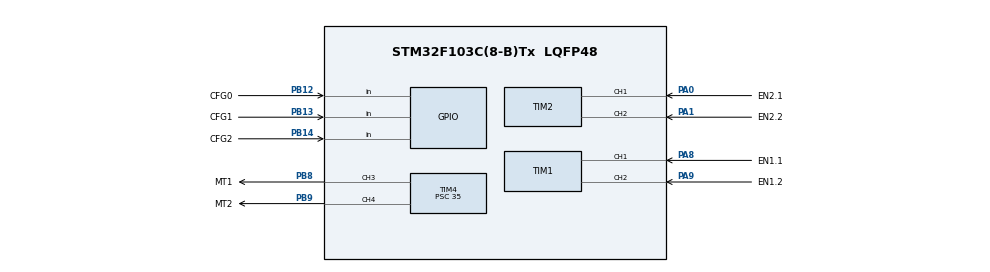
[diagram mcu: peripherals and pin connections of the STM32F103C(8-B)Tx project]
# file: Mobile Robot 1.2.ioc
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Mcu.Family=STM32F1
Mcu.Name=STM32F103C(8-B)Tx
Mcu.Package=LQFP48
NVIC.PriorityGroup=NVIC_PRIORITYGROUP_4
PA0-WKUP.GPIO_Label=EN2.1
PA0-WKUP.GPIO_PuPd=GPIO_PULLUP
PA0-WKUP.Signal=S_TIM2_CH1_ETR
PA1.GPIO_Label=EN2.2
PA1.GPIO_PuPd=GPIO_PULLUP
PA1.Signal=S_TIM2_CH2
PA13.Mode=Serial_Wire
PA13.Signal=SYS_JTMS-SWDIO
PA14.Mode=Serial_Wire
PA14.Signal=SYS_JTCK-SWCLK
PA8.GPIO_Label=EN1.1
PA8.GPIO_PuPd=GPIO_PULLUP
PA8.Signal=S_TIM1_CH1
PA9.GPIO_Label=EN1.2
PA9.GPIO_PuPd=GPIO_PULLUP
PA9.Signal=S_TIM1_CH2
PB12.GPIO_Label=CFG0
PB12.Signal=GPIO_Input
PB13.GPIO_Label=CFG1
PB13.Signal=GPIO_Input
PB14.GPIO_Label=CFG2
PB14.Signal=GPIO_Input
PB8.GPIO_Label=MT1
PB8.GPIO_Speed=GPIO_SPEED_FREQ_MEDIUM
PB8.Signal=S_TIM4_CH3
PB9.GPIO_Label=MT2
PB9.GPIO_Speed=GPIO_SPEED_FREQ_MEDIUM
PB9.Signal=S_TIM4_CH4
PD0-OSC_IN.Mode=HSE-External-Oscillator
PD0-OSC_IN.Signal=RCC_OSC_IN
PD1-OSC_OUT.Mode=HSE-External-Oscillator
PD1-OSC_OUT.Signal=RCC_OSC_OUT
ProjectManager.HeapSize=0x200
ProjectManager.StackSize=0x400
ProjectManager.TargetToolchain=STM32CubeIDE
RCC.APB1Freq_Value=8000000
RCC.APB2Freq_Value=8000000
SH.S_TIM1_CH1.0=TIM1_CH1,Encoder_Interface
SH.S_TIM1_CH2.0=TIM1_CH2,Encoder_Interface
SH.S_TIM2_CH1_ETR.0=TIM2_CH1,Encoder_Interface
SH.S_TIM2_CH2.0=TIM2_CH2,Encoder_Interface
SH.S_TIM4_CH3.0=TIM4_CH3,PWM Generation3 CH3
SH.S_TIM4_CH4.0=TIM4_CH4,PWM Generation4 CH4
TIM1.EncoderMode=TIM_ENCODERMODE_TI12
TIM2.EncoderMode=TIM_ENCODERMODE_TI12
TIM4.Channel-PWM\ Generation3\ CH3=TIM_CHANNEL_3
TIM4.Channel-PWM\ Generation4\ CH4=TIM_CHANNEL_4
TIM4.Period=999
TIM4.Prescaler=35
board=custom

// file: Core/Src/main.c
/* USER CODE BEGIN Header */
/**
  ******************************************************************************
  * @file           : main.c
  * @brief          : Main program body
  ******************************************************************************
  * @attention
  *
  * Copyright (c) 2023 STMicroelectronics.
  * All rights reserved.
  *
  * This software is licensed under terms that can be found in the LICENSE file
  * in the root directory of this software component.
  * If no LICENSE file comes with this software, it is provided AS-IS.
  *
  ******************************************************************************
  */
/* USER CODE END Header */
#include "main.h"

/* USER CODE BEGIN Includes */
#include "matrices_op2.h"
#include <main_operation2.h>
#include <stdio.h>
#include <stdlib.h>
#include <string.h>
/* USER CODE END Includes */

TIM_HandleTypeDef htim1;
TIM_HandleTypeDef htim2;
TIM_HandleTypeDef htim4;

void SystemClock_Config(void);
static void MX_GPIO_Init(void);
static void MX_TIM1_Init(void);
static void MX_TIM2_Init(void);
static void MX_TIM4_Init(void);

/* USER CODE BEGIN 0 */

	double x = 0;
	double y = 0;
	double theta = 0;

	double left_angular_velocity = 0;
	double right_angular_velocity = 0;

	double x_r = 0;
	double y_r = 0;
	double theta_r = 0;

	double e_x;
	double e_y;
	double e_theta;

	double voltage_left = 0;
	double voltage_right = 0;

	volatile double encoder_cnt1 = 0;
	volatile double encoder_cnt2 = 0;

	volatile double encoder1_previous = 0;
	volatile double encoder2_previous = 0;

//	double present_time = 0;
//	double sample_time = 100;
//	double rate = 10 * 6.28; // = 1000/sample_time
//	double rate = 100;

	uint16_t duty_cycle1 = 0; // for motor left
	uint16_t duty_cycle2 = 0; // for motor right duty + 140 = duty 1 (v1 = v2)

	double sampling_interval = 10e-6 ;

	//Vehicle parameters
    double I = 0.0315;
	double r = 0.0325;
	double R = 0.091;
	double d = 0.037;
	double m = 0.927;

	double present_time = 0;

	//Motor parameters
	double k_phi = 9.76e-3;
	double R_a = 4.35;

	void pulse_modulation(uint16_t *duty_cycle1, uint16_t *duty_cycle2) {
		__HAL_TIM_SET_COMPARE(&htim4, TIM_CHANNEL_3, *duty_cycle1); // left
		__HAL_TIM_SET_COMPARE(&htim4, TIM_CHANNEL_4, *duty_cycle2); // right
	}

	void convert_v_to_pwm(uint16_t *duty_cycle1, uint16_t *duty_cycle2, double voltage_left, double voltage_right) {
		*duty_cycle1 = (int)((voltage_left / 12) * 1000);
		*duty_cycle2 = (int)((voltage_right / 12) * 1000);
	}

/* USER CODE END 0 */

int main(void)
{

  /* MCU Configuration--------------------------------------------------------*/

  /* Reset of all peripherals, Initializes the Flash interface and the Systick. */
  HAL_Init();

  /* USER CODE BEGIN Init */
  //Controller parameters
      matrix K;
      allocate_matrix(&K, 3 ,1);
      K.index[0][0] = 1;
      K.index[1][0] = 1;
      K.index[2][0] = 1;

      matrix K_4;
      allocate_matrix(&K_4, 2, 2);
      K_4.index[0][0] = 1;
      K_4.index[1][1] = 1;

      matrix v;
      allocate_matrix(&v, 2, 1);

      matrix v_r;
      allocate_matrix(&v_r, 2, 1);
      v_r.index[0][0] = 0.5;
      v_r.index[1][0] = 0.5;

      matrix v_c;
      allocate_matrix(&v_c, 2, 1);

      matrix v_c_pre;
      allocate_matrix(&v_c_pre, 2, 1);

      matrix u;
      allocate_matrix(&u, 2, 1);

      matrix torque;
      allocate_matrix(&torque, 2, 1);

      velocity_control_input(&v_c, &v_c_pre, v_r, K, e_x, e_y, e_theta);
  /* USER CODE END Init */

  /* Configure the system clock */
  SystemClock_Config();

  /* Initialize all configured peripherals */
  MX_GPIO_Init();
  MX_TIM1_Init();
  MX_TIM2_Init();
  MX_TIM4_Init();
  /* USER CODE BEGIN 2 */

  // Motor left
  HAL_TIM_PWM_Start(&htim4, TIM_CHANNEL_3);
  HAL_TIM_Encoder_Start(&htim1, TIM_CHANNEL_2 | TIM_CHANNEL_1);
  // Motor right
  HAL_TIM_PWM_Start(&htim4, TIM_CHANNEL_4);
  HAL_TIM_Encoder_Start(&htim2, TIM_CHANNEL_1 | TIM_CHANNEL_2);

  /* USER CODE END 2 */

  /* Infinite loop */
  /* USER CODE BEGIN WHILE */
  	  present_time = HAL_GetTick();
  while (1)
  {

	  	  	  encoder_cnt1 = __HAL_TIM_GET_COUNTER(&htim1);
	 	  	  double a = encoder_cnt1;
	 	  	  encoder_cnt2 = __HAL_TIM_GET_COUNTER(&htim2);
	 	  	  double b = encoder_cnt2;
	 	  	  if(HAL_GetTick() - present_time > sampling_interval) {
	 	  	 		  	if(a - encoder1_previous < 0) {
	 	  	 		  		left_angular_velocity = ((a - encoder1_previous + 65535) / 660) * 6.18 / sampling_interval;
	 	  	 		  	}
	 	  	 		  	else {
	 	  	 		  		left_angular_velocity = ((a - encoder1_previous) / 660) * 6.18 / sampling_interval;
	 	  	 		  	}

	 	  	 		  	if(b - encoder2_previous < 0) {
	 	  	 		  		right_angular_velocity = ((b - encoder2_previous + 65535) / 660) * 6.18 / sampling_interval;
	 	  	 		  	}
	 	  	 		  	else {
	 	  	 		  		right_angular_velocity = ((b - encoder2_previous) / 660) * 6.18 / sampling_interval;
	 	  	 		  	}
	 	  		  	encoder1_previous = a;
	 	  		  	encoder2_previous = b;

	 			//desired_trajectory(&v_r, x_r, y_r);
	 	  		velocity(&v, left_angular_velocity, right_angular_velocity);
	 	  		errors(&e_x, &e_y, &e_theta, x, y, theta, x_r, y_r, theta_r);
	 	  		velocity_control_input(&v_c, &v_c_pre, v_r, K, e_x, e_y, e_theta);
	 	  		control_input_signal(&u, v_c, v_c_pre, v, K_4);
	 	  		cal_torque(&torque, v, u);
	 	  		voltage(&voltage_left, &voltage_right, left_angular_velocity, right_angular_velocity, &torque);
	 	  		next_state(&x, &y, &theta, &x_r, &y_r, &theta_r, v, v_r);
	 	  		convert_v_to_pwm(&duty_cycle1, &duty_cycle2, voltage_left, voltage_right);
	 	  		pulse_modulation(&duty_cycle1, &duty_cycle2);
//
//	  		pulse_modulation_test();
	  		present_time = HAL_GetTick();
	  	}

    /* USER CODE END WHILE */

  }
}

void SystemClock_Config(void)
{
  RCC_OscInitTypeDef RCC_OscInitStruct = {0};
  RCC_ClkInitTypeDef RCC_ClkInitStruct = {0};

  /** Initializes the RCC Oscillators according to the specified parameters
  * in the RCC_OscInitTypeDef structure.
  */
  RCC_OscInitStruct.OscillatorType = RCC_OSCILLATORTYPE_HSI;
  RCC_OscInitStruct.HSIState = RCC_HSI_ON;
  RCC_OscInitStruct.HSICalibrationValue = RCC_HSICALIBRATION_DEFAULT;
  RCC_OscInitStruct.PLL.PLLState = RCC_PLL_NONE;
  if (HAL_RCC_OscConfig(&RCC_OscInitStruct) != HAL_OK)
  {
    Error_Handler();
  }

  /** Initializes the CPU, AHB and APB buses clocks
  */
  RCC_ClkInitStruct.ClockType = RCC_CLOCKTYPE_HCLK|RCC_CLOCKTYPE_SYSCLK
                              |RCC_CLOCKTYPE_PCLK1|RCC_CLOCKTYPE_PCLK2;
  RCC_ClkInitStruct.SYSCLKSource = RCC_SYSCLKSOURCE_HSI;
  RCC_ClkInitStruct.AHBCLKDivider = RCC_SYSCLK_DIV1;
  RCC_ClkInitStruct.APB1CLKDivider = RCC_HCLK_DIV1;
  RCC_ClkInitStruct.APB2CLKDivider = RCC_HCLK_DIV1;

  if (HAL_RCC_ClockConfig(&RCC_ClkInitStruct, FLASH_LATENCY_0) != HAL_OK)
  {
    Error_Handler();
  }
}

static void MX_TIM1_Init(void)
{

  TIM_Encoder_InitTypeDef sConfig = {0};
  TIM_MasterConfigTypeDef sMasterConfig = {0};

  htim1.Instance = TIM1;
  htim1.Init.Prescaler = 0;
  htim1.Init.CounterMode = TIM_COUNTERMODE_UP;
  htim1.Init.Period = 65535;
  htim1.Init.ClockDivision = TIM_CLOCKDIVISION_DIV1;
  htim1.Init.RepetitionCounter = 0;
  htim1.Init.AutoReloadPreload = TIM_AUTORELOAD_PRELOAD_DISABLE;
  sConfig.EncoderMode = TIM_ENCODERMODE_TI12;
  sConfig.IC1Polarity = TIM_ICPOLARITY_RISING;
  sConfig.IC1Selection = TIM_ICSELECTION_DIRECTTI;
  sConfig.IC1Prescaler = TIM_ICPSC_DIV1;
  sConfig.IC1Filter = 0;
  sConfig.IC2Polarity = TIM_ICPOLARITY_RISING;
  sConfig.IC2Selection = TIM_ICSELECTION_DIRECTTI;
  sConfig.IC2Prescaler = TIM_ICPSC_DIV1;
  sConfig.IC2Filter = 0;
  if (HAL_TIM_Encoder_Init(&htim1, &sConfig) != HAL_OK)
  {
    Error_Handler();
  }
  sMasterConfig.MasterOutputTrigger = TIM_TRGO_RESET;
  sMasterConfig.MasterSlaveMode = TIM_MASTERSLAVEMODE_DISABLE;
  if (HAL_TIMEx_MasterConfigSynchronization(&htim1, &sMasterConfig) != HAL_OK)
  {
    Error_Handler();
  }

}

static void MX_TIM2_Init(void)
{

  TIM_Encoder_InitTypeDef sConfig = {0};
  TIM_MasterConfigTypeDef sMasterConfig = {0};

  htim2.Instance = TIM2;
  htim2.Init.Prescaler = 0;
  htim2.Init.CounterMode = TIM_COUNTERMODE_UP;
  htim2.Init.Period = 65535;
  htim2.Init.ClockDivision = TIM_CLOCKDIVISION_DIV1;
  htim2.Init.AutoReloadPreload = TIM_AUTORELOAD_PRELOAD_DISABLE;
  sConfig.EncoderMode = TIM_ENCODERMODE_TI12;
  sConfig.IC1Polarity = TIM_ICPOLARITY_RISING;
  sConfig.IC1Selection = TIM_ICSELECTION_DIRECTTI;
  sConfig.IC1Prescaler = TIM_ICPSC_DIV1;
  sConfig.IC1Filter = 0;
  sConfig.IC2Polarity = TIM_ICPOLARITY_RISING;
  sConfig.IC2Selection = TIM_ICSELECTION_DIRECTTI;
  sConfig.IC2Prescaler = TIM_ICPSC_DIV1;
  sConfig.IC2Filter = 0;
  if (HAL_TIM_Encoder_Init(&htim2, &sConfig) != HAL_OK)
  {
    Error_Handler();
  }
  sMasterConfig.MasterOutputTrigger = TIM_TRGO_RESET;
  sMasterConfig.MasterSlaveMode = TIM_MASTERSLAVEMODE_DISABLE;
  if (HAL_TIMEx_MasterConfigSynchronization(&htim2, &sMasterConfig) != HAL_OK)
  {
    Error_Handler();
  }

}

static void MX_TIM4_Init(void)
{

  TIM_MasterConfigTypeDef sMasterConfig = {0};
  TIM_OC_InitTypeDef sConfigOC = {0};

  htim4.Instance = TIM4;
  htim4.Init.Prescaler = 35;
  htim4.Init.CounterMode = TIM_COUNTERMODE_UP;
  htim4.Init.Period = 999;
  htim4.Init.ClockDivision = TIM_CLOCKDIVISION_DIV1;
  htim4.Init.AutoReloadPreload = TIM_AUTORELOAD_PRELOAD_DISABLE;
  if (HAL_TIM_PWM_Init(&htim4) != HAL_OK)
  {
    Error_Handler();
  }
  sMasterConfig.MasterOutputTrigger = TIM_TRGO_RESET;
  sMasterConfig.MasterSlaveMode = TIM_MASTERSLAVEMODE_DISABLE;
  if (HAL_TIMEx_MasterConfigSynchronization(&htim4, &sMasterConfig) != HAL_OK)
  {
    Error_Handler();
  }
  sConfigOC.OCMode = TIM_OCMODE_PWM1;
  sConfigOC.Pulse = 0;
  sConfigOC.OCPolarity = TIM_OCPOLARITY_HIGH;
  sConfigOC.OCFastMode = TIM_OCFAST_DISABLE;
  if (HAL_TIM_PWM_ConfigChannel(&htim4, &sConfigOC, TIM_CHANNEL_3) != HAL_OK)
  {
    Error_Handler();
  }
  if (HAL_TIM_PWM_ConfigChannel(&htim4, &sConfigOC, TIM_CHANNEL_4) != HAL_OK)
  {
    Error_Handler();
  }
  HAL_TIM_MspPostInit(&htim4);

}

static void MX_GPIO_Init(void)
{
  GPIO_InitTypeDef GPIO_InitStruct = {0};

  /* GPIO Ports Clock Enable */
  __HAL_RCC_GPIOD_CLK_ENABLE();
  __HAL_RCC_GPIOA_CLK_ENABLE();
  __HAL_RCC_GPIOB_CLK_ENABLE();

  /*Configure GPIO pins : CFG0_Pin CFG1_Pin CFG2_Pin */
  GPIO_InitStruct.Pin = CFG0_Pin|CFG1_Pin|CFG2_Pin;
  GPIO_InitStruct.Mode = GPIO_MODE_INPUT;
  GPIO_InitStruct.Pull = GPIO_NOPULL;
  HAL_GPIO_Init(GPIOB, &GPIO_InitStruct);

}

void Error_Handler(void)
{
  __disable_irq();
  while (1)
  {
  }
}
